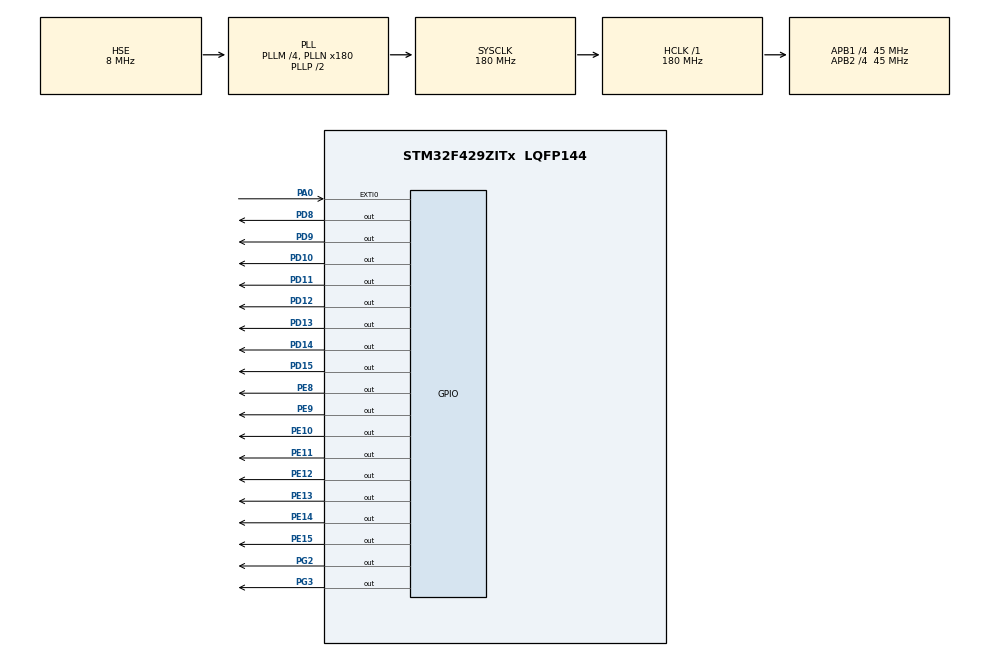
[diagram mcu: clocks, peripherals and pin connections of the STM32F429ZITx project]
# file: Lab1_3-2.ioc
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Mcu.Family=STM32F4
Mcu.Name=STM32F429ZITx
Mcu.Package=LQFP144
NVIC.EXTI0_IRQn=true\:0\:0\:false\:false\:true\:true\:true\:true
NVIC.PriorityGroup=NVIC_PRIORITYGROUP_4
NVIC.TIM6_DAC_IRQn=true\:0\:0\:false\:false\:true\:true\:true\:true
PA0/WKUP.Signal=GPXTI0
PD10.Signal=GPIO_Output
PD11.Signal=GPIO_Output
PD12.Signal=GPIO_Output
PD13.Signal=GPIO_Output
PD14.Signal=GPIO_Output
PD15.Signal=GPIO_Output
PD8.Signal=GPIO_Output
PD9.Signal=GPIO_Output
PE10.Signal=GPIO_Output
PE11.Signal=GPIO_Output
PE12.Signal=GPIO_Output
PE13.Signal=GPIO_Output
PE14.Signal=GPIO_Output
PE15.Signal=GPIO_Output
PE8.Signal=GPIO_Output
PE9.Signal=GPIO_Output
PG2.Signal=GPIO_Output
PG3.Signal=GPIO_Output
PH0/OSC_IN.Mode=HSE-External-Oscillator
PH0/OSC_IN.Signal=RCC_OSC_IN
PH1/OSC_OUT.Mode=HSE-External-Oscillator
PH1/OSC_OUT.Signal=RCC_OSC_OUT
ProjectManager.HeapSize=0x200
ProjectManager.StackSize=0x400
ProjectManager.TargetToolchain=STM32CubeIDE
RCC.48MHZClocksFreq_Value=90000000
RCC.AHBFreq_Value=180000000
RCC.APB1CLKDivider=RCC_HCLK_DIV4
RCC.APB1Freq_Value=45000000
RCC.APB1TimFreq_Value=90000000
RCC.APB2CLKDivider=RCC_HCLK_DIV4
RCC.APB2Freq_Value=45000000
RCC.APB2TimFreq_Value=90000000
RCC.CortexFreq_Value=180000000
RCC.HCLKFreq_Value=180000000
RCC.HSE_VALUE=8000000
RCC.HSI_VALUE=16000000
RCC.LSE_VALUE=32768
RCC.PLLM=4
RCC.PLLN=180
RCC.PLLSourceVirtual=RCC_PLLSOURCE_HSE
RCC.SYSCLKFreq_VALUE=180000000
RCC.SYSCLKSource=RCC_SYSCLKSOURCE_PLLCLK
RCC.VCOOutputFreq_Value=360000000
TIM6.Period=99
TIM6.Prescaler=89
VP_TIM6_VS_ClockSourceINT.Mode=Enable_Timer
board=custom

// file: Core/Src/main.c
/* USER CODE BEGIN Header */
/**
  ******************************************************************************
  * @file           : main.c
  * @brief          : Main program body
  ******************************************************************************
  * @attention
  *
  * Copyright (c) 2026 STMicroelectronics.
  * All rights reserved.
  *
  * This software is licensed under terms that can be found in the LICENSE file
  * in the root directory of this software component.
  * If no LICENSE file comes with this software, it is provided AS-IS.
  *
  ******************************************************************************
  */
#include "7seg.h"
/* USER CODE END Header */
#include "main.h"

TIM_HandleTypeDef htim6;

/* USER CODE BEGIN PV */
unsigned char LED_Value;
unsigned int LED_Seg_Value;
/* USER CODE END PV */

void SystemClock_Config(void);
static void MX_GPIO_Init(void);
static void MX_TIM6_Init(void);

/* USER CODE BEGIN 0 */
void DisplayLEDs(int mode)
{
	if (mode == 1)
	{
		LED_Value = (LED_Value >> 1) | (LED_Value << 7);
	}
	if (LED_Value & 0x80)
		HAL_GPIO_WritePin(GPIOD, GPIO_PIN_15, GPIO_PIN_SET);
	else
		HAL_GPIO_WritePin(GPIOD, GPIO_PIN_15, GPIO_PIN_RESET);
	if (LED_Value & 0x40)
		HAL_GPIO_WritePin(GPIOD, GPIO_PIN_14, GPIO_PIN_SET);
	else
		HAL_GPIO_WritePin(GPIOD, GPIO_PIN_14, GPIO_PIN_RESET);
	if (LED_Value & 0x20)
		HAL_GPIO_WritePin(GPIOD, GPIO_PIN_13, GPIO_PIN_SET);
	else
		HAL_GPIO_WritePin(GPIOD, GPIO_PIN_13, GPIO_PIN_RESET);
	if (LED_Value & 0x10)
		HAL_GPIO_WritePin(GPIOD, GPIO_PIN_12, GPIO_PIN_SET);
	else
		HAL_GPIO_WritePin(GPIOD, GPIO_PIN_12, GPIO_PIN_RESET);
	if (LED_Value & 0x8)
		HAL_GPIO_WritePin(GPIOD, GPIO_PIN_11, GPIO_PIN_SET);
	else
		HAL_GPIO_WritePin(GPIOD, GPIO_PIN_11, GPIO_PIN_RESET);
	if (LED_Value & 0x4)
		HAL_GPIO_WritePin(GPIOD, GPIO_PIN_10, GPIO_PIN_SET);
	else
		HAL_GPIO_WritePin(GPIOD, GPIO_PIN_10, GPIO_PIN_RESET);
	if (LED_Value & 0x2)
		HAL_GPIO_WritePin(GPIOD, GPIO_PIN_9, GPIO_PIN_SET);
	else
		HAL_GPIO_WritePin(GPIOD, GPIO_PIN_9, GPIO_PIN_RESET);
	if (LED_Value & 0x1)
		HAL_GPIO_WritePin(GPIOD, GPIO_PIN_8, GPIO_PIN_SET);
	else
		HAL_GPIO_WritePin(GPIOD, GPIO_PIN_8, GPIO_PIN_RESET);
}
/* USER CODE END 0 */

int main(void)
{

  /* MCU Configuration--------------------------------------------------------*/

  /* Reset of all peripherals, Initializes the Flash interface and the Systick. */
  HAL_Init();

  /* Configure the system clock */
  SystemClock_Config();

  /* Initialize all configured peripherals */
  MX_GPIO_Init();
  MX_TIM6_Init();
  /* USER CODE BEGIN 2 */
  HAL_TIM_Base_Start_IT(&htim6);
  LED_Seg_Value = 25;
  Set7SegDisplayValue(LED_Seg_Value);
  /* USER CODE END 2 */

  /* Infinite loop */
  /* USER CODE BEGIN WHILE */
  LED_Value = 1;
  while (1)
  {
	  HAL_Delay(5);
	  DisplayLEDs(1);
	  Run7SegDisplay();
    /* USER CODE END WHILE */

  }
}

void SystemClock_Config(void)
{
  RCC_OscInitTypeDef RCC_OscInitStruct = {0};
  RCC_ClkInitTypeDef RCC_ClkInitStruct = {0};

  /** Configure the main internal regulator output voltage
  */
  __HAL_RCC_PWR_CLK_ENABLE();
  __HAL_PWR_VOLTAGESCALING_CONFIG(PWR_REGULATOR_VOLTAGE_SCALE1);

  /** Initializes the RCC Oscillators according to the specified parameters
  * in the RCC_OscInitTypeDef structure.
  */
  RCC_OscInitStruct.OscillatorType = RCC_OSCILLATORTYPE_HSE;
  RCC_OscInitStruct.HSEState = RCC_HSE_ON;
  RCC_OscInitStruct.PLL.PLLState = RCC_PLL_ON;
  RCC_OscInitStruct.PLL.PLLSource = RCC_PLLSOURCE_HSE;
  RCC_OscInitStruct.PLL.PLLM = 4;
  RCC_OscInitStruct.PLL.PLLN = 180;
  RCC_OscInitStruct.PLL.PLLP = RCC_PLLP_DIV2;
  RCC_OscInitStruct.PLL.PLLQ = 4;
  if (HAL_RCC_OscConfig(&RCC_OscInitStruct) != HAL_OK)
  {
    Error_Handler();
  }

  /** Activate the Over-Drive mode
  */
  if (HAL_PWREx_EnableOverDrive() != HAL_OK)
  {
    Error_Handler();
  }

  /** Initializes the CPU, AHB and APB buses clocks
  */
  RCC_ClkInitStruct.ClockType = RCC_CLOCKTYPE_HCLK|RCC_CLOCKTYPE_SYSCLK
                              |RCC_CLOCKTYPE_PCLK1|RCC_CLOCKTYPE_PCLK2;
  RCC_ClkInitStruct.SYSCLKSource = RCC_SYSCLKSOURCE_PLLCLK;
  RCC_ClkInitStruct.AHBCLKDivider = RCC_SYSCLK_DIV1;
  RCC_ClkInitStruct.APB1CLKDivider = RCC_HCLK_DIV4;
  RCC_ClkInitStruct.APB2CLKDivider = RCC_HCLK_DIV4;

  if (HAL_RCC_ClockConfig(&RCC_ClkInitStruct, FLASH_LATENCY_5) != HAL_OK)
  {
    Error_Handler();
  }
}

static void MX_TIM6_Init(void)
{

  TIM_MasterConfigTypeDef sMasterConfig = {0};

  htim6.Instance = TIM6;
  htim6.Init.Prescaler = 89;
  htim6.Init.CounterMode = TIM_COUNTERMODE_UP;
  htim6.Init.Period = 99;
  htim6.Init.AutoReloadPreload = TIM_AUTORELOAD_PRELOAD_DISABLE;
  if (HAL_TIM_Base_Init(&htim6) != HAL_OK)
  {
    Error_Handler();
  }
  sMasterConfig.MasterOutputTrigger = TIM_TRGO_RESET;
  sMasterConfig.MasterSlaveMode = TIM_MASTERSLAVEMODE_DISABLE;
  if (HAL_TIMEx_MasterConfigSynchronization(&htim6, &sMasterConfig) != HAL_OK)
  {
    Error_Handler();
  }

}

static void MX_GPIO_Init(void)
{
  GPIO_InitTypeDef GPIO_InitStruct = {0};

  /* GPIO Ports Clock Enable */
  __HAL_RCC_GPIOH_CLK_ENABLE();
  __HAL_RCC_GPIOA_CLK_ENABLE();
  __HAL_RCC_GPIOE_CLK_ENABLE();
  __HAL_RCC_GPIOD_CLK_ENABLE();
  __HAL_RCC_GPIOG_CLK_ENABLE();

  /*Configure GPIO pin Output Level */
  HAL_GPIO_WritePin(GPIOE, GPIO_PIN_8|GPIO_PIN_9|GPIO_PIN_10|GPIO_PIN_11
                          |GPIO_PIN_12|GPIO_PIN_13|GPIO_PIN_14|GPIO_PIN_15, GPIO_PIN_RESET);

  /*Configure GPIO pin Output Level */
  HAL_GPIO_WritePin(GPIOD, GPIO_PIN_8|GPIO_PIN_9|GPIO_PIN_10|GPIO_PIN_11
                          |GPIO_PIN_12|GPIO_PIN_13|GPIO_PIN_14|GPIO_PIN_15, GPIO_PIN_RESET);

  /*Configure GPIO pin Output Level */
  HAL_GPIO_WritePin(GPIOG, GPIO_PIN_2|GPIO_PIN_3, GPIO_PIN_RESET);

  /*Configure GPIO pin : PA0 */
  GPIO_InitStruct.Pin = GPIO_PIN_0;
  GPIO_InitStruct.Mode = GPIO_MODE_IT_RISING;
  GPIO_InitStruct.Pull = GPIO_NOPULL;
  HAL_GPIO_Init(GPIOA, &GPIO_InitStruct);

  /*Configure GPIO pins : PE8 PE9 PE10 PE11
                           PE12 PE13 PE14 PE15 */
  GPIO_InitStruct.Pin = GPIO_PIN_8|GPIO_PIN_9|GPIO_PIN_10|GPIO_PIN_11
                          |GPIO_PIN_12|GPIO_PIN_13|GPIO_PIN_14|GPIO_PIN_15;
  GPIO_InitStruct.Mode = GPIO_MODE_OUTPUT_PP;
  GPIO_InitStruct.Pull = GPIO_NOPULL;
  GPIO_InitStruct.Speed = GPIO_SPEED_FREQ_LOW;
  HAL_GPIO_Init(GPIOE, &GPIO_InitStruct);

  /*Configure GPIO pins : PD8 PD9 PD10 PD11
                           PD12 PD13 PD14 PD15 */
  GPIO_InitStruct.Pin = GPIO_PIN_8|GPIO_PIN_9|GPIO_PIN_10|GPIO_PIN_11
                          |GPIO_PIN_12|GPIO_PIN_13|GPIO_PIN_14|GPIO_PIN_15;
  GPIO_InitStruct.Mode = GPIO_MODE_OUTPUT_PP;
  GPIO_InitStruct.Pull = GPIO_NOPULL;
  GPIO_InitStruct.Speed = GPIO_SPEED_FREQ_LOW;
  HAL_GPIO_Init(GPIOD, &GPIO_InitStruct);

  /*Configure GPIO pins : PG2 PG3 */
  GPIO_InitStruct.Pin = GPIO_PIN_2|GPIO_PIN_3;
  GPIO_InitStruct.Mode = GPIO_MODE_OUTPUT_PP;
  GPIO_InitStruct.Pull = GPIO_NOPULL;
  GPIO_InitStruct.Speed = GPIO_SPEED_FREQ_LOW;
  HAL_GPIO_Init(GPIOG, &GPIO_InitStruct);

  /* EXTI interrupt init*/
  HAL_NVIC_SetPriority(EXTI0_IRQn, 0, 0);
  HAL_NVIC_EnableIRQ(EXTI0_IRQn);

}

void Error_Handler(void)
{
  __disable_irq();
  while (1)
  {
  }
}
